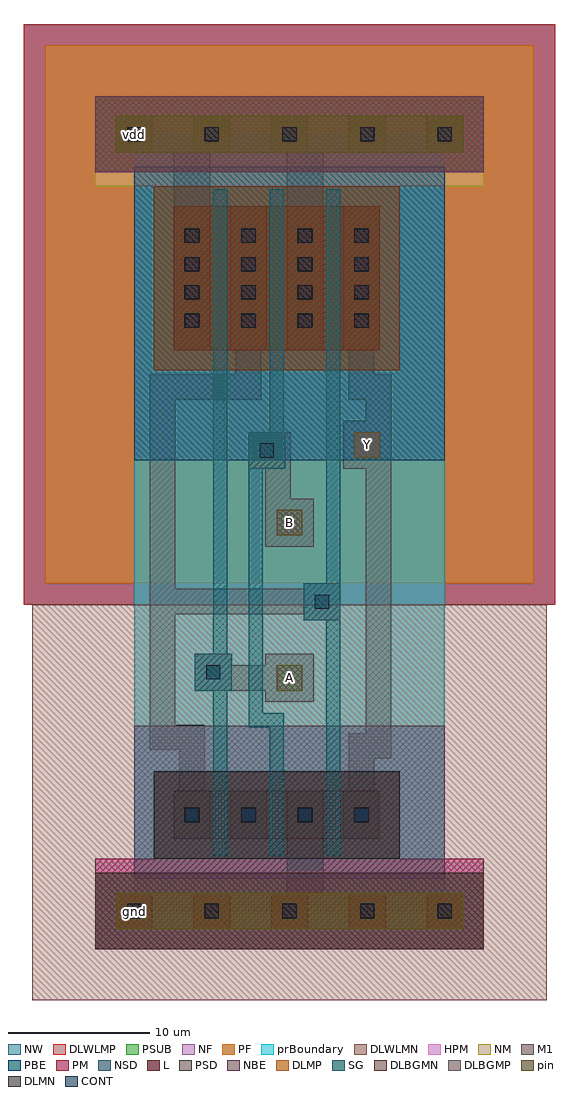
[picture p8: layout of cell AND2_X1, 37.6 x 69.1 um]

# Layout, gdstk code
import gdstk
lib = gdstk.Library(unit=1e-6, precision=1e-09)
def R(c, l, rs):  # rectangles x0, y0, x1, y1
    for r in rs: c.add(gdstk.rectangle(r[:2], r[2:], *l))
def A(c, l, x, y, w, h, nx, ny, dx, dy):  # array of equal rectangles
    R(c, l, [(x+i*dx, y+j*dy, x+i*dx+w, y+j*dy+h) for i in range(nx) for j in range(ny)])
def P(c, l, *ps):  # polygons
    for p in ps: c.add(gdstk.Polygon(p, *l))
L = (3, 0)
NM = (7, 0)
SG = (8, 0)
PSD = (9, 0)
CONT = (11, 0)
M1 = (13, 0)
NF = (25, 0)
PF = (26, 0)
NSD = (28, 0)
HPM = (33, 0)
PM = (35, 0)
NW = (36, 0)
pin = (48, 1)
PSUB = (140, 0)
PBE = (146, 0)
NBE = (147, 0)
DLWLMP = (150, 0)
DLWLMN = (151, 0)
DLMP = (157, 0)
DLMN = (158, 0)
DLBGMP = (177, 0)
DLBGMN = (178, 0)
prBoundary = (235, 0)

and2_x1 = lib.new_cell('AND2_X1')
A(and2_x1, L, -1.3, -1.3, 2.6, 2.6, 5, 2, 5.5, 55)
R(and2_x1, L, [(2.8,5.1,17.4,8.5), (2.8,39.7,17.4,49.9)])
R(and2_x1, NM, [(-2.75,-2.7,24.75,2.7)])
P(and2_x1, NM, [(1.4,38.3),(1.4,51.3),(-2.75,51.3),(-2.75,57.7),(24.75,57.7),(24.75,51.3),(18.8,51.3),(18.8,38.3)])
P(and2_x1, SG, [(5.6,3.9),(5.6,15.6),(4.3,15.6),(4.3,18.2),(5.6,18.2),(5.6,51.1),(6.6,51.1),(6.6,18.2),(6.9,18.2),(6.9,15.6),(6.6,15.6),(6.6,3.9)],
  [(9.6,3.9),(9.6,13),(8.1,13),(8.1,33.9),(9.6,33.9),(9.6,51.1),(10.6,51.1),(10.6,33.9),(10.7,33.9),(10.7,31.3),(9.1,31.3),(9.1,14),(10.6,14),(10.6,3.9)],
  [(13.6,3.9),(13.6,20.6),(12,20.6),(12,23.2),(13.6,23.2),(13.6,51.1),(14.6,51.1),(14.6,3.9)])
R(and2_x1, PSD, [(1.4,3.7,18.8,9.9), (-2.75,52.3,24.75,57.7)])
A(and2_x1, CONT, -0.5, -0.5, 1, 1, 5, 2, 5.5, 55)
A(and2_x1, CONT, 3.6, 41.3, 1, 1, 1, 4, 0, 2)
A(and2_x1, CONT, 15.6, 41.3, 1, 1, 1, 4, 0, 2)
R(and2_x1, CONT, [(3.6,6.3,4.6,7.3), (7.6,6.3,8.6,7.3), (7.6,6.3,8.6,7.3), (11.6,6.3,12.6,7.3), (11.6,6.3,12.6,7.3), (15.6,6.3,16.6,7.3), (5.1,16.4,6.1,17.4), (12.8,21.4,13.8,22.4), (8.9,32.1,9.9,33.1), (7.6,41.3,8.6,42.3), (7.6,41.3,8.6,42.3), (11.6,41.3,12.6,42.3), (11.6,41.3,12.6,42.3), (7.6,43.3,8.6,44.3), (7.6,43.3,8.6,44.3), (11.6,43.3,12.6,44.3), (11.6,43.3,12.6,44.3), (7.6,45.3,8.6,46.3), (7.6,45.3,8.6,46.3), (11.6,45.3,12.6,46.3), (11.6,45.3,12.6,46.3), (7.6,47.3,8.6,48.3), (7.6,47.3,8.6,48.3), (11.6,47.3,12.6,48.3), (11.6,47.3,12.6,48.3)])
R(and2_x1, M1, [(6.8,5.1,9.4,8.5)])
P(and2_x1, M1, [(-1.3,-1.3),(-1.3,1.3),(10.8,1.3),(10.8,8.5),(13.4,8.5),(13.4,1.3),(23.3,1.3),(23.3,-1.3)],
  [(9.3,14.8),(9.3,15.6),(4.3,15.6),(4.3,18.2),(6.9,18.2),(6.9,17.4),(9.3,17.4),(9.3,18.2),(12.7,18.2),(12.7,14.8)],
  [(9.3,25.8),(9.3,31.3),(8.1,31.3),(8.1,33.9),(11.1,33.9),(11.1,29.2),(12.7,29.2),(12.7,25.8)],
  [(2.8,5.1),(2.8,8.5),(3.2,8.5),(3.2,11.4),(1.1,11.4),(1.1,38),(7.2,38),(7.2,39.7),(6.8,39.7),(6.8,49.9),(9.4,49.9),(9.4,39.7),(9,39.7),(9,36.2),(2.9,36.2),(2.9,22.8),(12,22.8),(12,23.2),(14.6,23.2),(14.6,20.6),(12,20.6),(12,21),(2.9,21),(2.9,13.2),(5,13.2),(5,8.5),(5.4,8.5),(5.4,5.1)],
  [(14.8,5.1),(14.8,8.5),(15.2,8.5),(15.2,12.6),(16.4,12.6),(16.4,31.3),(14.8,31.3),(14.8,34.7),(16.4,34.7),(16.4,36.2),(15.2,36.2),(15.2,39.7),(14.8,39.7),(14.8,49.9),(17.4,49.9),(17.4,39.7),(17,39.7),(17,38),(18.2,38),(18.2,10.8),(17,10.8),(17,8.5),(17.4,8.5),(17.4,5.1)],
  [(2.8,39.7),(2.8,53.7),(-1.3,53.7),(-1.3,56.3),(23.3,56.3),(23.3,53.7),(13.4,53.7),(13.4,39.7),(10.8,39.7),(10.8,53.7),(5.4,53.7),(5.4,39.7)])
R(and2_x1, NF, [(-6.3,23.2,28.3,61.3)])
R(and2_x1, PF, [(-6.3,23.2,28.3,61.3)])
R(and2_x1, NSD, [(-2.75,-2.7,24.75,2.7), (1.4,38.3,18.8,51.3)])
P(and2_x1, HPM, [(-2.75,-2.7),(-2.75,3.7),(1.4,3.7),(1.4,9.9),(18.8,9.9),(18.8,3.7),(24.75,3.7),(24.75,-2.7)],
  [(1.4,38.3),(1.4,51.3),(-2.75,51.3),(-2.75,57.7),(24.75,57.7),(24.75,51.3),(18.8,51.3),(18.8,38.3)])
R(and2_x1, PM, [(-2.75,52.3,24.75,57.7)])
P(and2_x1, PM, [(-2.75,-2.7),(-2.75,3.7),(1.4,3.7),(1.4,9.9),(18.8,9.9),(18.8,3.7),(24.75,3.7),(24.75,-2.7)])
R(and2_x1, NW, [(-7.8,21.7,29.8,62.8)])
R(and2_x1, pin, [(-1.3,-1.3,23.3,1.3), (10.1,15.6,11.9,17.4), (10.1,26.6,11.9,28.4), (15.6,32.1,17.4,33.9), (-1.3,53.7,23.3,56.3)])
R(and2_x1, PSUB, [(-6.3,23.2,28.3,61.3)])
R(and2_x1, PBE, [(0,31.9,22,52.7)])
R(and2_x1, NBE, [(0,2.3,22,13.1)])
R(and2_x1, DLWLMP, [(-7.8,21.7,29.8,62.8)])
R(and2_x1, DLWLMN, [(-7.2,-6.3,29.2,21.7)])
R(and2_x1, DLMP, [(1.4,38.3,18.8,51.3)])
R(and2_x1, DLMN, [(1.4,3.7,18.8,9.9)])
R(and2_x1, DLBGMP, [(-2.75,52.3,24.75,57.7)])
R(and2_x1, DLBGMN, [(-2.75,-2.7,24.75,2.7)])
R(and2_x1, prBoundary, [(0,0,22,55)])
and2_x1.add(gdstk.Label('vdd', (0,55), layer=48, texttype=0))
and2_x1.add(gdstk.Label('gnd', (0,0), layer=48, texttype=0))
and2_x1.add(gdstk.Label('Y', (16.5,33), layer=48, texttype=0))
and2_x1.add(gdstk.Label('A', (11,16.5), layer=48, texttype=0))
and2_x1.add(gdstk.Label('B', (11,27.5), layer=48, texttype=0))

lib.write_gds('AND2_X1.gds')
